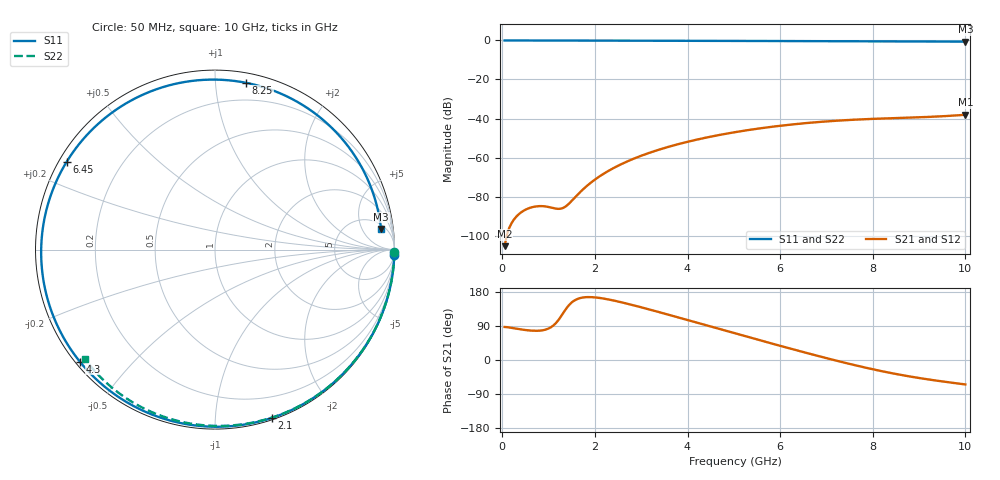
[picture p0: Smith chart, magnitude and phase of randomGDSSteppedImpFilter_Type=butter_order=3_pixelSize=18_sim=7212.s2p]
! freq	dB(S11)	phase(S11)	dB(S12)	phase(S12)
!  dB(S21)	phase(S21)	dB(S22)	phase(S22)
!S-par simulation data
#  GHz  S  DB  R 50
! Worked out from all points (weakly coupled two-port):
!   200 points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, 50 MHz to 10 GHz, reference 50 ohm
!   highest |S21| = -38.06 dB at 10 GHz (marker M1); lowest = -105.4 dB at 50 MHz (marker M2)
!   lowest |S11| = -0.6 dB at 10 GHz (marker M3), VSWR 28.53, Z = 345 + j609 ohm
!   |S11| at or under -10 dB: nowhere
!   |S22| runs from -0.5 to 0.0 dB; largest |S21 - S12| = 0
!   S11 on the Smith chart (normalised r, x): 50 MHz: 2, -65; 2.1 GHz: 0.02, -1.39; 4.3 GHz: 0.01, -0.36; 6.45 GHz: 0.02, +0.27; 8.25 GHz: 0.07, +1.20; 10 GHz: 7, +12
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0.05  -0.01 -1.8  -105.36 87.2  -105.36 87.2  -0.00 -0.8
0.75  -0.03 -26.1  -84.94 77.1  -84.94 77.1  -0.01 -12.1
1.55  -0.07 -53.2  -80.86 156.5  -80.86 156.5  -0.03 -24.8
1.6  -0.07 -54.9  -79.61 159.9  -79.61 159.9  -0.03 -25.6
1.75  -0.08 -59.8  -76.11 165.1  -76.11 165.1  -0.04 -28.0
2.1  -0.09 -71.3  -69.61 163.8  -69.61 163.8  -0.04 -33.4
2.7  -0.11 -90.6  -61.95 148.5  -61.95 148.5  -0.06 -42.6
3.4  -0.15 -112.5  -55.82 125.9  -55.82 125.9  -0.07 -53.2
4.3  -0.19 -140.4  -50.27 95.2  -50.27 95.2  -0.09 -66.3
5.05  -0.24 -163.9  -46.88 69.5  -46.88 69.5  -0.12 -76.8
5.75  -0.29 173.4  -44.44 45.8  -44.44 45.8  -0.15 -86.4
6.45  -0.35 149.3  -42.57 22.5  -42.57 22.5  -0.18 -95.6
6.7  -0.37 140.3  -42.03 14.4  -42.03 14.4  -0.19 -98.9
7.15  -0.41 123.5  -41.22 0.2  -41.22 0.2  -0.22 -104.6
7.55  -0.44 107.9  -40.65 -11.8  -40.65 -11.8  -0.24 -109.7
7.9  -0.47 93.9  -40.26 -21.7  -40.26 -21.7  -0.27 -114.1
8.25  -0.49 79.4  -39.95 -30.9  -39.95 -30.9  -0.30 -118.4
8.35  -0.50 75.3  -39.87 -33.4  -39.87 -33.4  -0.31 -119.7
8.8  -0.52 56.4  -39.52 -43.5  -39.52 -43.5  -0.35 -125.2
9.25  -0.55 37.6  -39.12 -52.2  -39.12 -52.2  -0.39 -130.7
9.65  -0.58 21.1  -38.63 -59.0  -38.63 -59.0  -0.43 -135.5
10  -0.61 7.1  -38.06 -64.5  -38.06 -64.5  -0.47 -139.8
